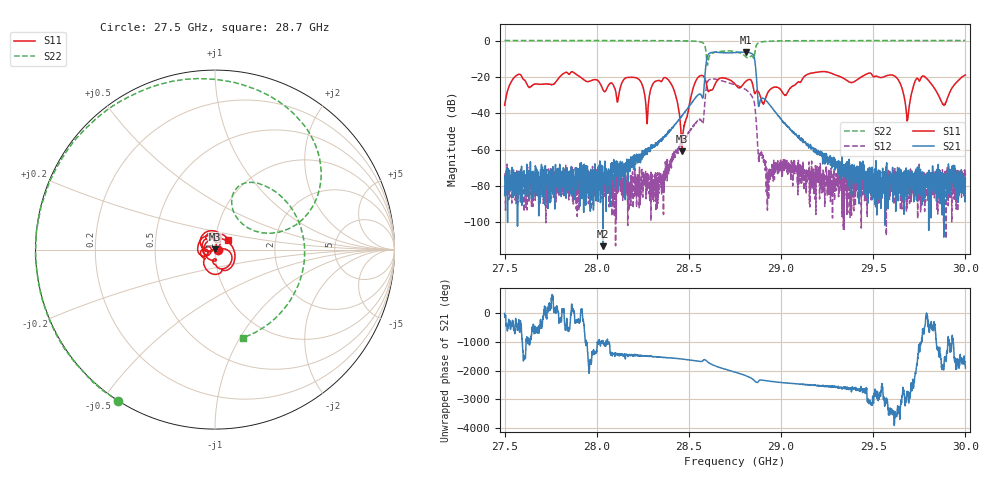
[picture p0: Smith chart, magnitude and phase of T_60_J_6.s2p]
!Keysight Technologies,N5234A,MY55441357,A.10.47.05
!Date: Sunday, November 19, 2017 17:34:12
!Correction: S11(Full 2 Port(1,2))
!S21(Full 2 Port(1,2))
!S12(Full 2 Port(1,2))
!S22(Full 2 Port(1,2))
!S2P File: Measurements: S11, S21, S12, S22:
# Hz S  dB  R 50
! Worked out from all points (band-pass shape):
!   2501 points, 27.5 GHz to 30 GHz, reference 50 ohm
!   highest |S21| = -6.29 dB at 28.81 GHz (marker M1); lowest = -113.2 dB at 28.03 GHz (marker M2)
!   |S21| within 3 dB of the highest: 28.6 GHz to 28.85 GHz (256.1 MHz wide, 0.891 % of centre)
!   lowest |S11| = -61.0 dB at 28.46 GHz (marker M3), VSWR 1.00, Z = 50 + j0.0762 ohm
!   |S11| at or under -10 dB: start of sweep to end of sweep
!   |S22| runs from -13.6 to 0.1 dB; largest |S21 - S12| = 0.56
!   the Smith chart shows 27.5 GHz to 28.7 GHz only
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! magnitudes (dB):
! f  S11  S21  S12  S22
! 27.5 GHz  -35.7  -85.3  -76.4  0.0
! 27.57 GHz  -18.7  -79.8  -86.9  0.0
! 27.92 GHz  -20.5  -73.4  -80.1  0.0
! 28.03 GHz  -27.1  -113.2  -80.2  0.0
! 28.22 GHz  -20.5  -62.5  -91.7  0.0
! 28.27 GHz  -45.8  -59.9  -82.2  0.0
! 28.33 GHz  -22.0  -56.8  -75.1  0.0
! 28.41 GHz  -25.3  -48.0  -62.3  -0.1
! 28.46 GHz  -61.0  -41.4  -56.4  -0.1
! 28.55 GHz  -19.8  -29.6  -43.6  -0.6
! 28.61 GHz  -27.7  -7.1  -21.5  -8.6
! 28.75 GHz  -24.0  -6.6  -24.3  -6.1
! 28.81 GHz  -22.6  -6.3  -27.0  -8.8
! 28.85 GHz  -25.6  -7.8  -32.0  -9.4
! 28.88 GHz  -29.1  -35.1  -63.4  -1.1
! 28.93 GHz  -28.4  -34.4  -73.9  -0.3
! 29.17 GHz  -17.9  -59.1  -77.7  0.0
! 29.58 GHz  -19.0  -80.2  -81.5  0.0
! 29.69 GHz  -43.7  -75.8  -71.7  0.0
! 29.73 GHz  -21.0  -71.6  -86.9  0.0
! 29.88 GHz  -35.6  -77.0  -75.9  0.0
! 30 GHz  -18.9  -80.6  -73.0  0.0
